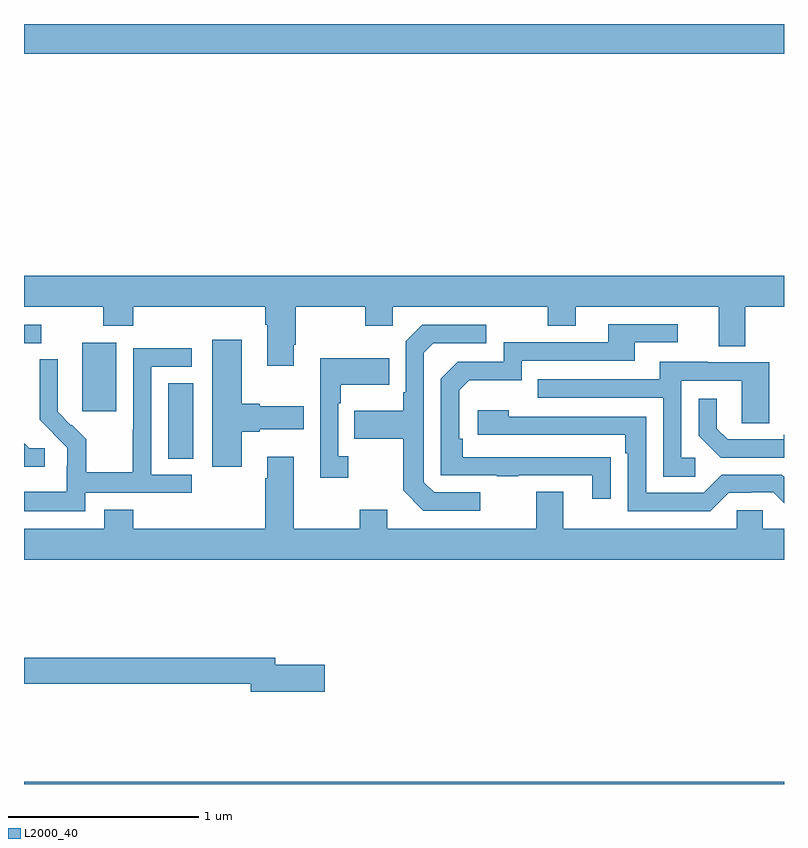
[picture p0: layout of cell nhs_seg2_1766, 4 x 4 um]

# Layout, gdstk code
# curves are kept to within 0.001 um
import gdstk
lib = gdstk.Library(unit=1e-6, precision=1e-09)
def R(c, l, rs):  # rectangles x0, y0, x1, y1
    for r in rs: c.add(gdstk.rectangle(r[:2], r[2:], *l))
def P(c, l, *ps):  # polygons
    for p in ps: c.add(gdstk.Polygon(p, *l))
L2000_40 = (2000, 40)

nhs_seg2_1766 = lib.new_cell('nhs_seg2_1766')
R(nhs_seg2_1766, L2000_40, [(203,635.8,207,635.812), (203.759,637.513,203.89,637.91), (203.306,637.761,203.485,638.122), (203,638.121,203.092,638.217), (203,639.644,207,639.8)])
P(nhs_seg2_1766, L2000_40, [(204.421,638.113),(204.429,638.113),(204.429,638.312),(204.796,638.312),(204.796,638.213),(204.942,638.213),(204.942,638.312),(205.756,638.312),(205.756,638.213),(205.903,638.213),(205.903,638.312),(206.657,638.312),(206.657,638.104),(206.797,638.104),(206.797,638.312),(207,638.312),(207,638.476),(203,638.476),(203,638.312),(203.416,638.312),(203.416,638.213),(203.576,638.213),(203.576,638.312),(204.269,638.312),(204.269,638.216),(204.281,638.216),(204.281,638.001),(204.421,638.001)],
  [(206.087,637.52),(205.31,637.521),(205.31,637.618),(205.29,637.618),(205.29,637.872),(205.343,637.925),(205.62,637.925),(205.62,638.028),(206.215,638.028),(206.215,638.124),(206.44,638.124),(206.44,638.22),(206.075,638.22),(206.075,638.124),(205.524,638.124),(205.524,638.022),(205.284,638.022),(205.194,637.932),(205.194,637.425),(205.489,637.425),(205.489,637.42),(205.601,637.42),(205.601,637.425),(205.991,637.425),(205.991,637.302),(206.087,637.302)],
  [(205.402,637.335),(205.158,637.335),(205.104,637.389),(205.104,638.07),(205.155,638.121),(205.432,638.121),(205.432,638.217),(205.095,638.217),(205.008,638.13),(205.008,637.861),(204.996,637.861),(204.996,637.765),(204.739,637.765),(204.739,637.618),(204.996,637.618),(204.996,637.345),(205.101,637.239),(205.402,637.239)],
  [(204.145,637.655),(204.241,637.655),(204.241,637.667),(204.472,637.667),(204.472,637.789),(204.241,637.789),(204.241,637.802),(204.145,637.802),(204.145,638.137),(203.99,638.137),(203.99,637.47),(204.145,637.47)],
  [(203.322,637.332),(203.884,637.332),(203.884,637.428),(203.67,637.428),(203.67,637.995),(203.884,637.995),(203.884,638.094),(203.574,638.094),(203.574,637.664),(203.572,637.664),(203.572,637.441),(203.327,637.441),(203.327,637.615),(203.25,637.692),(203.247,637.689),(203.177,637.76),(203.178,638.036),(203.082,638.036),(203.082,637.718),(203.228,637.57),(203.228,637.473),(203.226,637.473),(203.226,637.339),(203,637.339),(203,637.235),(203.322,637.235)],
  [(204.706,637.526),(204.654,637.526),(204.654,637.805),(204.667,637.805),(204.667,637.901),(204.923,637.901),(204.923,638.041),(204.558,638.041),(204.558,637.413),(204.706,637.413)],
  [(206.533,637.518),(206.46,637.518),(206.46,637.923),(206.778,637.923),(206.778,637.699),(206.923,637.699),(206.923,638.019),(206.599,638.019),(206.599,638.023),(206.345,638.023),(206.345,637.929),(205.705,637.929),(205.705,637.833),(206.364,637.833),(206.364,637.417),(206.533,637.417)],
  [(207,637.637),(206.999,637.637),(206.999,637.614),(206.704,637.614),(206.647,637.671),(206.647,637.828),(206.55,637.828),(206.55,637.634),(206.666,637.518),(207,637.518)],
  [(206.709,637.332),(206.828,637.332),(206.828,637.335),(206.943,637.335),(207,637.278),(207,637.416),(206.988,637.428),(206.673,637.428),(206.577,637.332),(206.274,637.332),(206.274,637.734),(205.55,637.734),(205.55,637.768),(205.389,637.768),(205.389,637.638),(206.165,637.638),(206.165,637.541),(206.178,637.541),(206.178,637.236),(206.613,637.236)],
  [(203.11,637.566),(203.028,637.566),(203,637.594),(203,637.469),(203.11,637.469)],
  [(207,637.144),(206.889,637.144),(206.889,637.242),(206.751,637.242),(206.751,637.144),(205.837,637.144),(205.837,637.339),(205.697,637.339),(205.697,637.144),(204.913,637.144),(204.913,637.243),(204.766,637.243),(204.766,637.144),(204.421,637.144),(204.421,637.522),(204.281,637.522),(204.281,637.409),(204.269,637.409),(204.269,637.144),(203.576,637.144),(203.576,637.243),(203.423,637.243),(203.423,637.144),(203,637.144),(203,636.98),(207,636.98)],
  [(204.583,636.428),(204.322,636.428),(204.322,636.464),(203,636.464),(203,636.328),(204.194,636.328),(204.194,636.286),(204.583,636.286)])

lib.write_gds('nhs_seg2_1766.gds')
